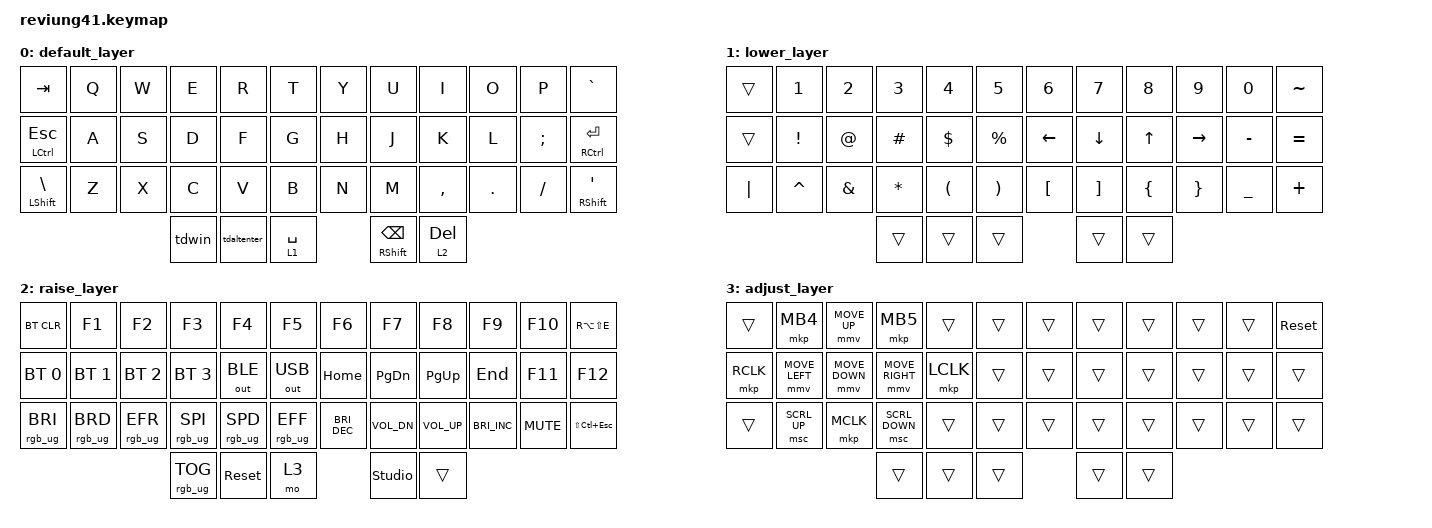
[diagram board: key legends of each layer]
/*
* Copyright (c) 2020 The ZMK Contributors
*
* SPDX-License-Identifier: MIT
*/

#include <behaviors.dtsi>
#include <dt-bindings/zmk/bt.h>
#include <dt-bindings/zmk/keys.h>
#include <dt-bindings/zmk/outputs.h>
#include <dt-bindings/zmk/rgb.h>
#include <dt-bindings/zmk/pointing.h>

&lt { quick-tap-ms = <200>; };

&mt {
    quick-tap-ms = <200>;
    flavor = "tap-preferred";
};

/ {
    combos { compatible = "zmk,combos"; };

    behaviors {
        tdwin: tdwin {
            compatible = "zmk,behavior-tap-dance";
            label = "TDWIN";
            #binding-cells = <0>;
            bindings = <&kp LEFT_GUI>, <&kp LG(GRAVE)>;
        };

        tdquotshift: tdquotshift {
            compatible = "zmk,behavior-tap-dance";
            label = "TDQUOTSHIFT";
            #binding-cells = <0>;
            bindings = <&mt RIGHT_SHIFT SINGLE_QUOTE>, <&kp DOUBLE_QUOTES>;
        };

        tdspace12: tdspace12 {
            compatible = "zmk,behavior-tap-dance";
            label = "TDSPACE12";
            #binding-cells = <0>;
            bindings = <&lt 1 SPACE>, <&lt 2 SPACE>, <&kp SPACE>;
        };

        tdaltenter: tdaltenter {
            compatible = "zmk,behavior-tap-dance";
            label = "TDALTENTER";
            #binding-cells = <0>;
            bindings = <&kp LEFT_ALT>, <&kp LA(ENTER)>, <&kp LA(LS(ENTER))>;
        };
    };

    keymap {
        compatible = "zmk,keymap";

        default_layer {
            bindings = <
&kp TAB                   &kp Q  &kp W  &kp E   &kp R        &kp T               &kp Y  &kp U                      &kp I         &kp O       &kp P          &kp GRAVE
&mt LCTRL ESCAPE          &kp A  &kp S  &kp D   &kp F        &kp G               &kp H  &kp J                      &kp K         &kp L       &kp SEMICOLON  &mt RIGHT_CONTROL ENTER
&mt LEFT_SHIFT BACKSLASH  &kp Z  &kp X  &kp C   &kp V        &kp B               &kp N  &kp M                      &kp COMMA     &kp PERIOD  &kp SLASH      &mt RIGHT_SHIFT SINGLE_QUOTE
                                        &tdwin  &tdaltenter         &lt 1 SPACE         &mt RIGHT_SHIFT BACKSPACE  &lt 2 DELETE
            >;
        };

        lower_layer {
            bindings = <
&trans    &kp N1     &kp N2    &kp N3     &kp N4                &kp N5                         &kp N6            &kp N7             &kp N8          &kp N9           &kp N0          &kp TILDE
&trans    &kp EXCL   &kp AT    &kp HASH   &kp DOLLAR            &kp PERCENT                    &kp LEFT          &kp DOWN           &kp UP          &kp RIGHT        &kp MINUS       &kp EQUAL
&kp PIPE  &kp CARET  &kp AMPS  &kp ASTRK  &kp LEFT_PARENTHESIS  &kp RIGHT_PARENTHESIS          &kp LEFT_BRACKET  &kp RIGHT_BRACKET  &kp LEFT_BRACE  &kp RIGHT_BRACE  &kp UNDERSCORE  &kp PLUS
                               &trans     &trans                                       &trans                    &trans             &trans
            >;
        };

        raise_layer {
            bindings = <
&bt BT_CLR       &kp F1           &kp F2           &kp F3           &kp F4           &kp F5                   &kp F6                &kp F7          &kp F8           &kp F9                &kp F10     &kp RA(LS(E))
&bt BT_SEL 0       &bt BT_SEL 1     &bt BT_SEL 2     &bt BT_SEL 3     &out OUT_BLE     &out OUT_USB             &kp HOME              &kp PAGE_DOWN   &kp PAGE_UP      &kp END               &kp F11     &kp F12
&rgb_ug RGB_BRI  &rgb_ug RGB_BRD  &rgb_ug RGB_EFR  &rgb_ug RGB_SPI  &rgb_ug RGB_SPD  &rgb_ug RGB_EFF          &kp C_BRIGHTNESS_DEC  &kp C_VOL_DN    &kp C_VOLUME_UP  &kp C_BRIGHTNESS_INC  &kp C_MUTE  &kp LS(LC(ESCAPE))
                                                   &rgb_ug RGB_TOG           &sys_reset                        &mo 3                        &studio_unlock  &trans
            >;
        };

        adjust_layer {
            bindings = <
&trans     &mkp MB4        &mmv MOVE_UP    &mkp MB5         &trans     &trans          &trans  &trans  &trans  &trans  &trans  &sys_reset
&mkp RCLK  &mmv MOVE_LEFT  &mmv MOVE_DOWN  &mmv MOVE_RIGHT  &mkp LCLK  &trans          &trans  &trans  &trans  &trans  &trans  &trans
&trans     &msc SCRL_UP    &mkp MCLK       &msc SCRL_DOWN   &trans     &trans          &trans  &trans  &trans  &trans  &trans  &trans
                                           &trans           &trans     &trans          &trans  &trans
            >;
        };

        extra { status = "reserved"; };
    };
};
